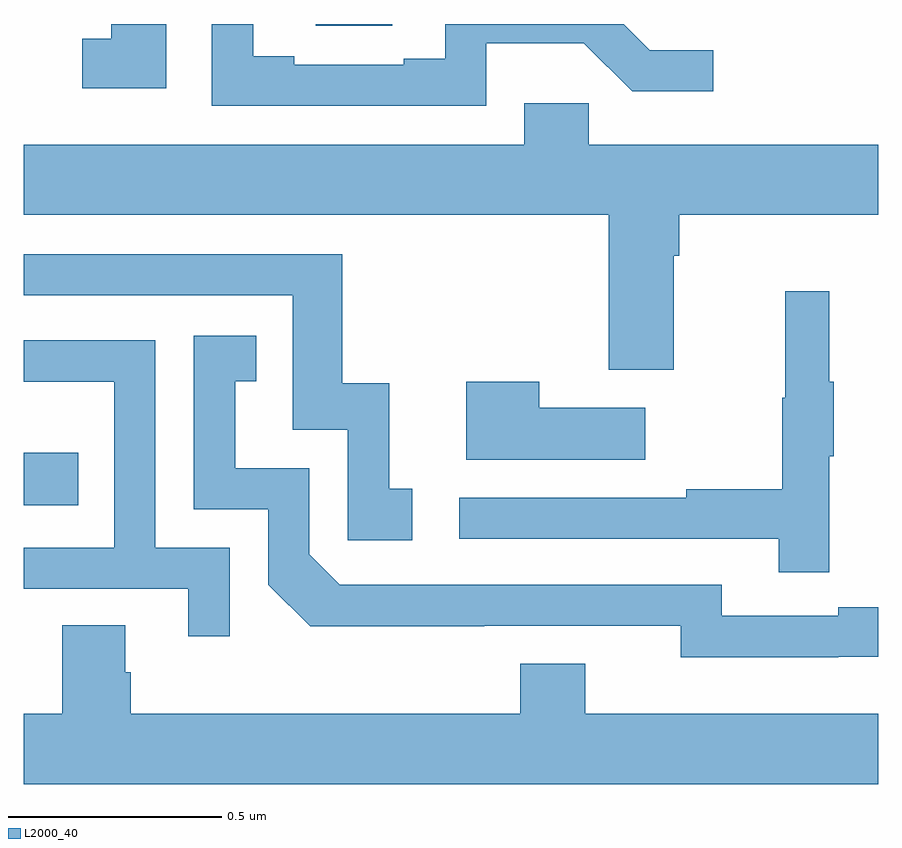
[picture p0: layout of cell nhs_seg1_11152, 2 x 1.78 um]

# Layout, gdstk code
import gdstk
lib = gdstk.Library(unit=1e-6, precision=1e-09)
def R(c, l, rs):  # rectangles x0, y0, x1, y1
    for r in rs: c.add(gdstk.rectangle(r[:2], r[2:], *l))
def P(c, l, *ps):  # polygons
    for p in ps: c.add(gdstk.Polygon(p, *l))
L2000_40 = (2000, 40)

nhs_seg1_11152 = lib.new_cell('nhs_seg1_11152')
R(nhs_seg1_11152, L2000_40, [(250,531.072,250.127,531.195), (250.683,532.195,250.862,532.199)])
P(nhs_seg1_11152, L2000_40, [(250.333,532.199),(250.205,532.199),(250.205,532.164),(250.137,532.164),(250.137,532.049),(250.333,532.049)],
  [(251.082,532.154),(251.311,532.154),(251.424,532.041),(251.614,532.041),(251.614,532.138),(251.465,532.138),(251.404,532.199),(250.986,532.199),(250.986,532.118),(250.889,532.118),(250.889,532.104),(250.633,532.104),(250.633,532.124),(250.537,532.124),(250.537,532.199),(250.44,532.199),(250.44,532.008),(251.082,532.008)],
  [(251.521,531.656),(251.534,531.656),(251.534,531.752),(252,531.752),(252,531.916),(251.323,531.916),(251.323,532.014),(251.171,532.014),(251.171,531.916),(250,531.916),(250,531.752),(251.369,531.752),(251.369,531.39),(251.521,531.39)],
  [(250.909,531.111),(250.856,531.111),(250.856,531.358),(250.745,531.358),(250.745,531.66),(250,531.66),(250,531.564),(250.629,531.564),(250.629,531.249),(250.758,531.249),(250.758,530.991),(250.909,530.991)],
  [(251.885,531.187),(251.896,531.187),(251.896,531.361),(251.885,531.361),(251.885,531.574),(251.782,531.574),(251.782,531.324),(251.775,531.324),(251.775,531.11),(251.551,531.11),(251.551,531.09),(251.019,531.09),(251.019,530.994),(251.767,530.994),(251.767,530.916),(251.885,530.916)],
  [(251.906,530.718),(252,530.718),(252,530.834),(251.906,530.834),(251.906,530.814),(251.634,530.814),(251.634,530.886),(250.74,530.886),(250.668,530.958),(250.668,531.159),(250.495,531.159),(250.495,531.363),(250.544,531.363),(250.544,531.469),(250.398,531.469),(250.398,531.063),(250.572,531.063),(250.572,530.886),(250.67,530.789),(251.078,530.789),(251.078,530.79),(251.538,530.79),(251.538,530.717),(251.906,530.717)],
  [(250.482,530.973),(250.308,530.973),(250.308,531.459),(250,531.459),(250,531.362),(250.212,531.362),(250.212,530.973),(250,530.973),(250,530.877),(250.385,530.877),(250.385,530.766),(250.482,530.766)],
  [(251.455,531.301),(251.207,531.301),(251.207,531.361),(251.036,531.361),(251.036,531.179),(251.455,531.179)],
  [(251.162,530.701),(251.162,530.584),(250.25,530.584),(250.25,530.682),(250.237,530.682),(250.237,530.792),(250.09,530.792),(250.09,530.584),(250,530.584),(250,530.42),(252,530.42),(252,530.584),(251.314,530.584),(251.314,530.701)])

lib.write_gds('nhs_seg1_11152.gds')
